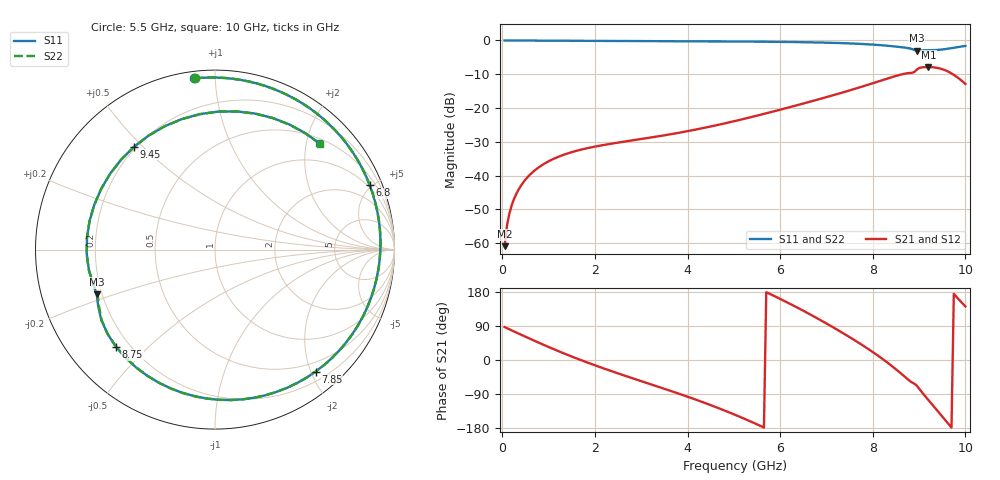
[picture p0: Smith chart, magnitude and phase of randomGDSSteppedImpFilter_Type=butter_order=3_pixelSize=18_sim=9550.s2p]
! freq	dB(S11)	phase(S11)	dB(S12)	phase(S12)
!  dB(S21)	phase(S21)	dB(S22)	phase(S22)
!S-par simulation data
#  GHz  S  DB  R 50
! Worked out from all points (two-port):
!   200 points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, 50 MHz to 10 GHz, reference 50 ohm
!   highest |S21| = -7.88 dB at 9.2 GHz (marker M1); lowest = -60.9 dB at 50 MHz (marker M2)
!   |S21| within 3 dB of the highest: 8.409 GHz to 9.824 GHz (1.415 GHz wide, 15.5 % of centre)
!   lowest |S11| = -3.0 dB at 8.95 GHz (marker M3), VSWR 5.76, Z = 8.95 - j8.82 ohm
!   |S11| at or under -10 dB: nowhere
!   |S22| runs from -3.1 to 0.0 dB; largest |S21 - S12| = 0
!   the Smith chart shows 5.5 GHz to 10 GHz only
!   S11 on the Smith chart (normalised r, x): 5.5 GHz: 0.04, +0.89; 6.8 GHz: 0.86, +4.85; 7.85 GHz: 0.34, -2.08; 8.75 GHz: 0.15, -0.40; 9.45 GHz: 0.19, +0.47; 10 GHz: 0.59, +2.25
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0.05  -0.00 -2.9  -60.89 87.0  -60.89 87.0  -0.00 -2.9
0.2  -0.02 -11.5  -48.93 78.3  -48.93 78.3  -0.02 -11.5
0.5  -0.04 -28.4  -41.18 61.5  -41.18 61.5  -0.04 -28.4
1.15  -0.08 -63.7  -34.78 26.5  -34.78 26.5  -0.08 -63.7
1.75  -0.11 -94.0  -32.15 -2.7  -32.15 -2.7  -0.11 -94.0
2.6  -0.15 -133.2  -30.01 -39.5  -30.01 -39.5  -0.15 -133.3
3.4  -0.18 -167.7  -28.31 -71.9  -28.31 -71.9  -0.18 -167.8
4.2  -0.23 158.0  -26.32 -105.5  -26.32 -105.5  -0.23 157.9
5.05  -0.30 119.2  -23.76 -145.8  -23.76 -145.8  -0.30 119.1
5.5  -0.35 96.9  -22.26 -169.8  -22.26 -169.8  -0.35 96.8
6.1  -0.44 64.5  -20.14 155.2  -20.14 155.2  -0.44 64.4
6.7  -0.57 28.9  -17.92 116.8  -17.92 116.8  -0.57 28.8
6.8  -0.59 22.6  -17.54 110.1  -17.54 110.1  -0.59 22.5
7.35  -0.80 -13.8  -15.40 71.5  -15.40 71.5  -0.80 -13.9
7.85  -1.10 -50.4  -13.32 33.3  -13.32 33.3  -1.10 -50.5
8.35  -1.61 -93.0  -11.13 -9.9  -11.13 -9.9  -1.60 -93.0
8.75  -2.24 -135.6  -9.70 -50.3  -9.70 -50.3  -2.24 -135.5
8.95  -3.04 -159.4  -8.63 -67.6  -8.63 -67.6  -3.09 -159.0
9.2  -2.89 167.3  -7.88 -105.3  -7.88 -105.3  -2.89 167.5
9.45  -2.74 128.2  -8.30 -141.6  -8.30 -141.6  -2.75 128.3
9.7  -2.28 88.7  -9.75 -178.3  -9.75 -178.3  -2.28 88.7
10  -1.61 45.6  -12.87 141.6  -12.87 141.6  -1.62 45.4
